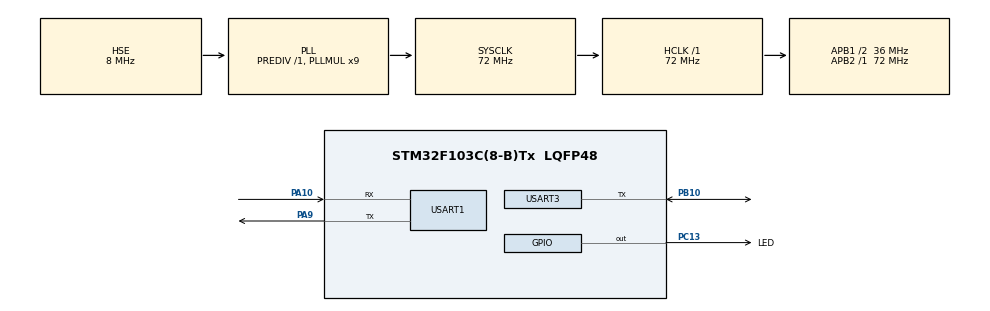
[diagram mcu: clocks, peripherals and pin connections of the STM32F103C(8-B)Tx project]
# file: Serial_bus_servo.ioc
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Mcu.Family=STM32F1
Mcu.Name=STM32F103C(8-B)Tx
Mcu.Package=LQFP48
NVIC.PriorityGroup=NVIC_PRIORITYGROUP_4
PA10.Mode=Asynchronous
PA10.Signal=USART1_RX
PA13.Mode=Serial_Wire
PA13.Signal=SYS_JTMS-SWDIO
PA14.Mode=Serial_Wire
PA14.Signal=SYS_JTCK-SWCLK
PA9.Mode=Asynchronous
PA9.Signal=USART1_TX
PB10.Mode=Half_duplex(single_wire_mode)
PB10.Signal=USART3_TX
PC13-TAMPER-RTC.GPIO_Label=LED
PC13-TAMPER-RTC.Signal=GPIO_Output
PC14-OSC32_IN.Mode=LSE-External-Clock-Source
PC14-OSC32_IN.Signal=RCC_OSC32_IN
PC15-OSC32_OUT.Mode=LSE-External-Clock-Source
PC15-OSC32_OUT.Signal=RCC_OSC32_OUT
PD0-OSC_IN.Mode=HSE-External-Oscillator
PD0-OSC_IN.Signal=RCC_OSC_IN
PD1-OSC_OUT.Mode=HSE-External-Oscillator
PD1-OSC_OUT.Signal=RCC_OSC_OUT
ProjectManager.HeapSize=0x200
ProjectManager.StackSize=0x400
ProjectManager.TargetToolchain=STM32CubeIDE
RCC.AHBFreq_Value=72000000
RCC.APB1CLKDivider=RCC_HCLK_DIV2
RCC.APB1Freq_Value=36000000
RCC.APB1TimFreq_Value=72000000
RCC.APB2Freq_Value=72000000
RCC.APB2TimFreq_Value=72000000
RCC.HCLKFreq_Value=72000000
RCC.PLLMUL=RCC_PLL_MUL9
RCC.PLLSourceVirtual=RCC_PLLSOURCE_HSE
RCC.SYSCLKFreq_VALUE=72000000
RCC.SYSCLKSource=RCC_SYSCLKSOURCE_PLLCLK
RCC.USBFreq_Value=72000000
USART1.VirtualMode=VM_ASYNC
USART3.VirtualMode=VM_ASYNC
board=custom

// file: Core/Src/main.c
/* USER CODE BEGIN Header */
/**
  ******************************************************************************
  * @file           : main.c
  * @brief          : Main program body
  ******************************************************************************
  * @attention
  *
  * Copyright (c) 2023 STMicroelectronics.
  * All rights reserved.
  *
  * This software is licensed under terms that can be found in the LICENSE file
  * in the root directory of this software component.
  * If no LICENSE file comes with this software, it is provided AS-IS.
  *
  ******************************************************************************
  */
/* USER CODE END Header */
#include "main.h"
#include "usart.h"
#include "gpio.h"

/* USER CODE BEGIN Includes */
#include"retarget.h"
#include"USER_main.h"
#include "retarget.h"
#include "Serial_Servo.h"
/* USER CODE END Includes */

void SystemClock_Config(void);

int main(void)
{

  /* MCU Configuration--------------------------------------------------------*/

  /* Reset of all peripherals, Initializes the Flash interface and the Systick. */
  HAL_Init();

  /* Configure the system clock */
  SystemClock_Config();

  /* Initialize all configured peripherals */
  MX_GPIO_Init();
  MX_USART1_UART_Init();
  MX_USART3_UART_Init();
  /* USER CODE BEGIN 2 */
  RetargetInit(&huart1);
  HAL_GPIO_TogglePin(LED_GPIO_Port,LED_Pin);
HAL_Delay(300);
  HAL_GPIO_TogglePin(LED_GPIO_Port,LED_Pin);
HAL_Delay(300);
  HAL_GPIO_TogglePin(LED_GPIO_Port,LED_Pin);
HAL_Delay(300);
  USER_main();
    HAL_GPIO_WritePin(LED_GPIO_Port,LED_Pin,GPIO_PIN_RESET);
    HAL_GPIO_WritePin(LED_GPIO_Port,LED_Pin,GPIO_PIN_SET);
    HAL_GPIO_WritePin(LED_GPIO_Port,LED_Pin,GPIO_PIN_RESET);
    HAL_GPIO_WritePin(LED_GPIO_Port,LED_Pin,GPIO_PIN_SET);

  /* USER CODE END 2 */

  /* Infinite loop */
  while (1)
  {

  }
}

void SystemClock_Config(void)
{
  RCC_OscInitTypeDef RCC_OscInitStruct = {0};
  RCC_ClkInitTypeDef RCC_ClkInitStruct = {0};

  /** Initializes the RCC Oscillators according to the specified parameters
  * in the RCC_OscInitTypeDef structure.
  */
  RCC_OscInitStruct.OscillatorType = RCC_OSCILLATORTYPE_HSE;
  RCC_OscInitStruct.HSEState = RCC_HSE_ON;
  RCC_OscInitStruct.HSEPredivValue = RCC_HSE_PREDIV_DIV1;
  RCC_OscInitStruct.HSIState = RCC_HSI_ON;
  RCC_OscInitStruct.PLL.PLLState = RCC_PLL_ON;
  RCC_OscInitStruct.PLL.PLLSource = RCC_PLLSOURCE_HSE;
  RCC_OscInitStruct.PLL.PLLMUL = RCC_PLL_MUL9;
  if (HAL_RCC_OscConfig(&RCC_OscInitStruct) != HAL_OK)
  {
    Error_Handler();
  }

  /** Initializes the CPU, AHB and APB buses clocks
  */
  RCC_ClkInitStruct.ClockType = RCC_CLOCKTYPE_HCLK|RCC_CLOCKTYPE_SYSCLK
                              |RCC_CLOCKTYPE_PCLK1|RCC_CLOCKTYPE_PCLK2;
  RCC_ClkInitStruct.SYSCLKSource = RCC_SYSCLKSOURCE_PLLCLK;
  RCC_ClkInitStruct.AHBCLKDivider = RCC_SYSCLK_DIV1;
  RCC_ClkInitStruct.APB1CLKDivider = RCC_HCLK_DIV2;
  RCC_ClkInitStruct.APB2CLKDivider = RCC_HCLK_DIV1;

  if (HAL_RCC_ClockConfig(&RCC_ClkInitStruct, FLASH_LATENCY_2) != HAL_OK)
  {
    Error_Handler();
  }
}

void Error_Handler(void)
{
  __disable_irq();
  while (1)
  {
  }
}
